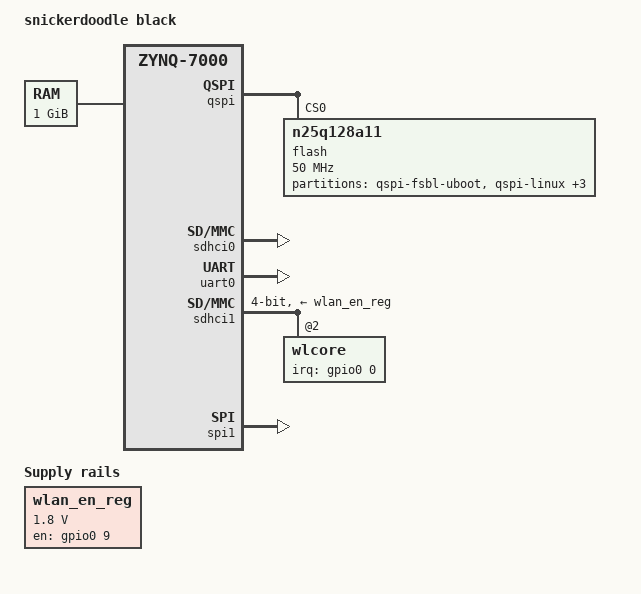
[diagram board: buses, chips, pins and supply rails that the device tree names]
/*
 *  Copyright (C) 2011 - 2014 Xilinx
 *  Copyright (C) 2012 National Instruments Corp.
 *
 * This software is licensed under the terms of the GNU General Public
 * License version 2, as published by the Free Software Foundation, and
 * may be copied, distributed, and modified under those terms.
 *
 * This program is distributed in the hope that it will be useful,
 * but WITHOUT ANY WARRANTY; without even the implied warranty of
 * MERCHANTABILITY or FITNESS FOR A PARTICULAR PURPOSE.  See the
 * GNU General Public License for more details.
 */
/dts-v1/;
#include "zynq-7000.dtsi"

/ {
	model = "snickerdoodle black";
	compatible = "xlnx,zynq-snickerdoodle-black", "xlnx,zynq-7000";

	cpus {
		cpu@0 {
			operating-points = <
				/* kHz	uV */
				866667	1000000
				433334	1000000
			>;
		};
	};

	aliases {
		serial0 = &uart0;
		spi0 = &qspi;
		spi1 = &spi1;
		mmc0 = &sdhci0;
		mmc1 = &sdhci1;
	};

	memory@0 {
		device_type = "memory";
		reg = <0x0 0x40000000>;
	};

	chosen {
		bootargs = "console=ttyPS0,115200n8 earlyprintk";
		linux,stdout-path = &uart0;
		stdout-path = &uart0;
	};

        wlan_en_reg: fixed-regulator-wlen {
                compatible = "regulator-fixed";
                regulator-name = "wlan-en-regulator";
                regulator-min-microvolt = <1800000>;
                regulator-max-microvolt = <1800000>;
                gpio = <&gpio0 9 4>;
                startup-delay-us = <70000>;
                enable-active-high;
        };

};

&clkc {
	ps-clk-frequency = <33333333>;
};

&qspi {
	u-boot,dm-pre-reloc;
	status = "okay";
	is-dual = <0>;
	num-cs = <1>;
	flash@0 {
		compatible = "n25q128a11";
		reg = <0x0>;
		spi-tx-bus-width = <1>;
		spi-rx-bus-width = <4>;
		spi-max-frequency = <50000000>;
		#address-cells = <1>;
		#size-cells = <1>;
		partition@qspi-fsbl-uboot {
			label = "qspi-fsbl-uboot";
			reg = <0x0 0x100000>;
		};
		partition@qspi-linux {
			label = "qspi-linux";
			reg = <0x100000 0x500000>;
		};
		partition@qspi-device-tree {
			label = "qspi-device-tree";
			reg = <0x600000 0x20000>;
		};
		partition@qspi-rootfs {
			label = "qspi-rootfs";
			reg = <0x620000 0x5E0000>;
		};
		partition@qspi-bitstream {
			label = "qspi-bitstream";
			reg = <0xC00000 0x400000>;
		};
	};
};

&sdhci0 {
	status = "okay";
};

&uart0 {
	status = "okay";
};

&sdhci1 {
	status = "okay";
	vmmc-supply = <&wlan_en_reg>;
	bus-width = <4>;
	cap-power-off-card;
	keep-power-in-suspend;
	#address-cells = <1>;
	#size-cells = <0>;	

        wlcore: wlcore@0 {
        	compatible = "wlcore", "ti,wl1837";
                reg = <2>;
                interrupt-parent = <&gpio0>;
                interrupts = <0 4>;
        };

};

&spi1 {
	status = "okay";
	num-cs = <1>;
};

&qspi {
	status = "okay";
	is-dual = <0>;
	num-cs = <1>;
	xlnx,qspi-mode = <1>;

	flash@0 {
		compatible = "n25q128a11";
		reg = <0x0>;
		spi-tx-bus-width = <1>;
		spi-rx-bus-width = <4>;
		spi-max-frequency = <50000000>;
		#address-cells = <1>;
		#size-cells =<1>;
		
		partition@qspi-fsbl-uboot {
			label = "qspi-fsbl-uboot";
			reg = <0x0 0x80000>;
		};

		partition@qspi-linux {
			label = "qspi-linux";
			reg = <0x80000 0x400000>;
		};

		partition@qspi-device-tree {
			label = "qspi-device-tree";
			reg = <0x480000 0x10000>;
		};

		partition@qspi-rootfs {
			label = "qspi-rootfs";
			reg = <0x490000 0x8f0000>;
		};

		partition@qspi-bitstream {
			label = "qspi-bitstream";
			reg = <0xd80000 0x280000>;
		};
	};
};

/ {
	__symbols__ {
		regulator_vccpint = &regulator_vccpint;
		wlan_en_reg = &wlan_en_reg;
		adc = &adc;
		can0 = &can0;
		can1 = &can1;
		gpio0 = &gpio0;
		intc = &intc;
		L2 = &L2;
		mc = &mc;
		ocmc = &ocmc;
		uart0 = &uart0;
		uart1 = &uart1;
		spi0 = &spi0;
		spi1 = &spi1;
		qspi = &qspi;
		smcc = &smcc;
		nand0 = &nand0;
		nor0 = &nor0;
		gem0 = &gem0;
		gem1 = &gem1;
		sdhci0 = &sdhci0;
		sdhci1 = &sdhci1;
		wlcore = &wlcore;
		slcr = &slcr;
		clkc = &clkc;
		rstc = &rstc;
		pinctrl0 = &pinctrl0;
		dmac_s = &dmac_s;
		devcfg = &devcfg;
		global_timer = &global_timer;
		ttc0 = &ttc0;
		ttc1 = &ttc1;
		scutimer = &scutimer;
		usb0 = &usb0;
		usb1 = &usb1;
		watchdog0 = &watchdog0;
	};
};
